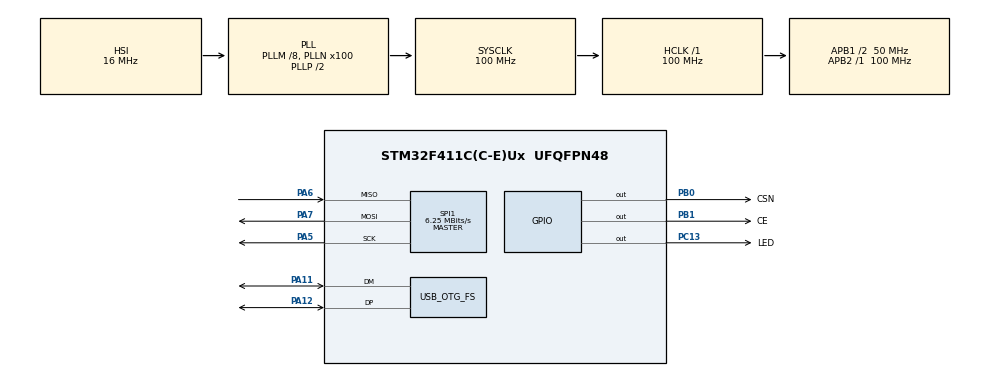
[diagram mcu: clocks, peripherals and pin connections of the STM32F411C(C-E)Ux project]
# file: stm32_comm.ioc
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Mcu.Family=STM32F4
Mcu.Name=STM32F411C(C-E)Ux
Mcu.Package=UFQFPN48
NVIC.OTG_FS_IRQn=true\:0\:0\:false\:false\:true\:false\:true\:true
NVIC.PriorityGroup=NVIC_PRIORITYGROUP_4
PA11.Mode=Device_Only
PA11.Signal=USB_OTG_FS_DM
PA12.Mode=Device_Only
PA12.Signal=USB_OTG_FS_DP
PA13.Mode=Serial_Wire
PA13.Signal=SYS_JTMS-SWDIO
PA14.Mode=Serial_Wire
PA14.Signal=SYS_JTCK-SWCLK
PA5.Mode=Full_Duplex_Master
PA5.Signal=SPI1_SCK
PA6.Mode=Full_Duplex_Master
PA6.Signal=SPI1_MISO
PA7.Mode=Full_Duplex_Master
PA7.Signal=SPI1_MOSI
PB0.GPIO_Label=CSN
PB0.Signal=GPIO_Output
PB1.GPIO_Label=CE
PB1.Signal=GPIO_Output
PC13-ANTI_TAMP.GPIO_Label=LED
PC13-ANTI_TAMP.Signal=GPIO_Output
PH0\ -\ OSC_IN.Mode=HSE-External-Oscillator
PH0\ -\ OSC_IN.Signal=RCC_OSC_IN
PH1\ -\ OSC_OUT.Mode=HSE-External-Oscillator
PH1\ -\ OSC_OUT.Signal=RCC_OSC_OUT
ProjectManager.HeapSize=0x200
ProjectManager.StackSize=0x400
ProjectManager.TargetToolchain=STM32CubeIDE
RCC.48MHZClocksFreq_Value=50000000
RCC.AHBFreq_Value=100000000
RCC.APB1CLKDivider=RCC_HCLK_DIV2
RCC.APB1Freq_Value=50000000
RCC.APB1TimFreq_Value=100000000
RCC.APB2Freq_Value=100000000
RCC.APB2TimFreq_Value=100000000
RCC.CortexFreq_Value=100000000
RCC.HCLKFreq_Value=100000000
RCC.HSE_VALUE=25000000
RCC.HSI_VALUE=16000000
RCC.LSE_VALUE=32768
RCC.PLLM=8
RCC.PLLN=100
RCC.PLLSource=RCC_PLLSOURCE_HSI
RCC.PLLSourceVirtualString=RCC_PLLSOURCE_HSI
RCC.SYSCLKFreq_VALUE=100000000
RCC.SYSCLKSource=RCC_SYSCLKSOURCE_PLLCLK
RCC.VCOOutputFreq_Value=200000000
SPI1.BaudRatePrescaler=SPI_BAUDRATEPRESCALER_16
SPI1.CalculateBaudRate=6.25 MBits/s
SPI1.Direction=SPI_DIRECTION_2LINES
SPI1.Mode=SPI_MODE_MASTER
SPI1.VirtualType=VM_MASTER
USB_DEVICE.CLASS_NAME_FS=CDC
USB_DEVICE.VirtualMode=Cdc
USB_DEVICE.VirtualModeFS=Cdc_FS
USB_OTG_FS.VirtualMode=Device_Only
VP_USB_DEVICE_VS_USB_DEVICE_CDC_FS.Mode=CDC_FS
board=custom

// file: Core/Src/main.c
/* USER CODE BEGIN Header */
/**
  ******************************************************************************
  * @file           : main.c
  * @brief          : Main program body
  ******************************************************************************
  * @attention
  *
  * Copyright (c) 2025 STMicroelectronics.
  * All rights reserved.
  *
  * This software is licensed under terms that can be found in the LICENSE file
  * in the root directory of this software component.
  * If no LICENSE file comes with this software, it is provided AS-IS.
  *
  ******************************************************************************
  */
/* USER CODE END Header */
#include "main.h"
#include "usb_device.h"

/* USER CODE BEGIN Includes */
#include "usbd_cdc_if.h"
#include <string.h>
#include <stdio.h>
#include <stdlib.h>
#include "nrf24l01p.h"
#include "NRF24_Diagnostics.h"

//#include "aes.h"

/* USER CODE END Includes */

/* USER CODE BEGIN PD */
//#define AES_KEY_SIZE 16
//#define AES_BLOCK_SIZE 16
#define MAX_INPUT_SIZE 64
/* USER CODE END PD */

SPI_HandleTypeDef hspi1;

/* USER CODE BEGIN PV */
uint8_t TxAddress[] = {0xEE, 0xDD, 0xCC, 0xBB, 0xAA};
uint8_t *recData = NULL;
uint32_t recDataSize = 0;

//static const uint8_t aes_key[AES_KEY_SIZE] = {
//    0x2b, 0x7e, 0x15, 0x16, 0x28, 0xae, 0xd2, 0xa6,
//    0xab, 0xf7, 0x15, 0x88, 0x09, 0xcf, 0x4f, 0x3c
//};
//
//static uint8_t iv[AES_BLOCK_SIZE] = {
//    0x00, 0x01, 0x02, 0x03, 0x04, 0x05, 0x06, 0x07,
//    0x08, 0x09, 0x0a, 0x0b, 0x0c, 0x0d, 0x0e, 0x0f
//};

//struct AES_ctx ctx;

/* USER CODE END PV */

void SystemClock_Config(void);
static void MX_GPIO_Init(void);
static void MX_SPI1_Init(void);
/* USER CODE BEGIN PFP */

void process_USB_data(void);
void HAL_GPIO_EXTI_Callback(uint16_t GPIO_Pin);
/* USER CODE END PFP */

/* USER CODE BEGIN 0 */

//void process_USB_data(void) {
//    if (recData != NULL && recDataSize > 0) {
//
//        size_t msg_len = recDataSize;
//        size_t padded_len = ((msg_len + AES_BLOCK_SIZE - 1) / AES_BLOCK_SIZE) * AES_BLOCK_SIZE;
//
//        uint8_t buffer[padded_len];
//        memset(buffer, AES_BLOCK_SIZE - (msg_len % AES_BLOCK_SIZE), padded_len);
//        memcpy(buffer, recData, msg_len);
//
//        AES_ctx_set_iv(&ctx, iv);
//        AES_CBC_encrypt_buffer(&ctx, buffer, padded_len);
//
//        uint8_t tx_data[padded_len + 1];
//        tx_data[0] = (uint8_t)msg_len;
//        memcpy(&tx_data[1], buffer, padded_len);
//
//        if (NRF24_Transmit(tx_data)) {
//            CDC_Transmit_FS((uint8_t *)"Data Sent Successfully\r\n", 25);
//        } else {
//            CDC_Transmit_FS((uint8_t *)"Data Transmission Failed\r\n", 27);
//        }
//
//        free(recData);
//        recData = NULL;
//        recDataSize = 0;
//    }
//}

void process_USB_data(void) {
    if (recData != NULL && recDataSize > 0) {

        if (recDataSize > 32) recDataSize = 32;

        uint8_t tx_data[recDataSize + 1];
        tx_data[0] = (uint8_t)recDataSize;
        memcpy(&tx_data[1], recData, recDataSize);

        if (NRF24_Transmit(tx_data, recDataSize + 1)) {
            CDC_Transmit_FS((uint8_t *)"Data Sent Successfully\r\n", 25);
        } else {
            CDC_Transmit_FS((uint8_t *)"Data Transmission Failed\r\n", 27);
        }

        free(recData);
        recData = NULL;
        recDataSize = 0;
    }
}

/* USER CODE END 0 */

int main(void)
{

  /* MCU Configuration--------------------------------------------------------*/

  /* Reset of all peripherals, Initializes the Flash interface and the Systick. */
  HAL_Init();

  /* Configure the system clock */
  SystemClock_Config();

  /* Initialize all configured peripherals */
  MX_GPIO_Init();
  MX_SPI1_Init();
  MX_USB_DEVICE_Init();
  /* USER CODE BEGIN 2 */
//  AES_init_ctx_iv(&ctx, aes_key, iv);
  NRF24_Init();
  uint8_t tx_address[5] = {0xEE, 0xDD, 0xCC, 0xBB, 0xAA};
  NRF24_TxMode(tx_address, 125);
  CDC_Transmit_FS((uint8_t *)"USB Ready\r\n", 11);

  /* USER CODE END 2 */

  /* Infinite loop */
  /* USER CODE BEGIN WHILE */
  while (1)
  {
	  process_USB_data();
	  NRF24_ReportStatus_USB();
    /* USER CODE END WHILE */

  }
}

void SystemClock_Config(void)
{
  RCC_OscInitTypeDef RCC_OscInitStruct = {0};
  RCC_ClkInitTypeDef RCC_ClkInitStruct = {0};

  /** Configure the main internal regulator output voltage
  */
  __HAL_RCC_PWR_CLK_ENABLE();
  __HAL_PWR_VOLTAGESCALING_CONFIG(PWR_REGULATOR_VOLTAGE_SCALE1);

  /** Initializes the RCC Oscillators according to the specified parameters
  * in the RCC_OscInitTypeDef structure.
  */
  RCC_OscInitStruct.OscillatorType = RCC_OSCILLATORTYPE_HSI;
  RCC_OscInitStruct.HSIState = RCC_HSI_ON;
  RCC_OscInitStruct.HSICalibrationValue = RCC_HSICALIBRATION_DEFAULT;
  RCC_OscInitStruct.PLL.PLLState = RCC_PLL_ON;
  RCC_OscInitStruct.PLL.PLLSource = RCC_PLLSOURCE_HSI;
  RCC_OscInitStruct.PLL.PLLM = 8;
  RCC_OscInitStruct.PLL.PLLN = 100;
  RCC_OscInitStruct.PLL.PLLP = RCC_PLLP_DIV2;
  RCC_OscInitStruct.PLL.PLLQ = 4;
  if (HAL_RCC_OscConfig(&RCC_OscInitStruct) != HAL_OK)
  {
    Error_Handler();
  }

  /** Initializes the CPU, AHB and APB buses clocks
  */
  RCC_ClkInitStruct.ClockType = RCC_CLOCKTYPE_HCLK|RCC_CLOCKTYPE_SYSCLK
                              |RCC_CLOCKTYPE_PCLK1|RCC_CLOCKTYPE_PCLK2;
  RCC_ClkInitStruct.SYSCLKSource = RCC_SYSCLKSOURCE_PLLCLK;
  RCC_ClkInitStruct.AHBCLKDivider = RCC_SYSCLK_DIV1;
  RCC_ClkInitStruct.APB1CLKDivider = RCC_HCLK_DIV2;
  RCC_ClkInitStruct.APB2CLKDivider = RCC_HCLK_DIV1;

  if (HAL_RCC_ClockConfig(&RCC_ClkInitStruct, FLASH_LATENCY_3) != HAL_OK)
  {
    Error_Handler();
  }
}

static void MX_SPI1_Init(void)
{

  /* SPI1 parameter configuration*/
  hspi1.Instance = SPI1;
  hspi1.Init.Mode = SPI_MODE_MASTER;
  hspi1.Init.Direction = SPI_DIRECTION_2LINES;
  hspi1.Init.DataSize = SPI_DATASIZE_8BIT;
  hspi1.Init.CLKPolarity = SPI_POLARITY_LOW;
  hspi1.Init.CLKPhase = SPI_PHASE_1EDGE;
  hspi1.Init.NSS = SPI_NSS_SOFT;
  hspi1.Init.BaudRatePrescaler = SPI_BAUDRATEPRESCALER_16;
  hspi1.Init.FirstBit = SPI_FIRSTBIT_MSB;
  hspi1.Init.TIMode = SPI_TIMODE_DISABLE;
  hspi1.Init.CRCCalculation = SPI_CRCCALCULATION_DISABLE;
  hspi1.Init.CRCPolynomial = 10;
  if (HAL_SPI_Init(&hspi1) != HAL_OK)
  {
    Error_Handler();
  }

}

static void MX_GPIO_Init(void)
{
  GPIO_InitTypeDef GPIO_InitStruct = {0};

  /* GPIO Ports Clock Enable */
  __HAL_RCC_GPIOC_CLK_ENABLE();
  __HAL_RCC_GPIOH_CLK_ENABLE();
  __HAL_RCC_GPIOA_CLK_ENABLE();
  __HAL_RCC_GPIOB_CLK_ENABLE();

  /*Configure GPIO pin Output Level */
  HAL_GPIO_WritePin(LED_GPIO_Port, LED_Pin, GPIO_PIN_RESET);

  /*Configure GPIO pin Output Level */
  HAL_GPIO_WritePin(GPIOB, CSN_Pin|CE_Pin, GPIO_PIN_RESET);

  /*Configure GPIO pin : LED_Pin */
  GPIO_InitStruct.Pin = LED_Pin;
  GPIO_InitStruct.Mode = GPIO_MODE_OUTPUT_PP;
  GPIO_InitStruct.Pull = GPIO_NOPULL;
  GPIO_InitStruct.Speed = GPIO_SPEED_FREQ_LOW;
  HAL_GPIO_Init(LED_GPIO_Port, &GPIO_InitStruct);

  /*Configure GPIO pins : CSN_Pin CE_Pin */
  GPIO_InitStruct.Pin = CSN_Pin|CE_Pin;
  GPIO_InitStruct.Mode = GPIO_MODE_OUTPUT_PP;
  GPIO_InitStruct.Pull = GPIO_NOPULL;
  GPIO_InitStruct.Speed = GPIO_SPEED_FREQ_LOW;
  HAL_GPIO_Init(GPIOB, &GPIO_InitStruct);

}

void Error_Handler(void)
{
  __disable_irq();
  while (1)
  {
  }
}
